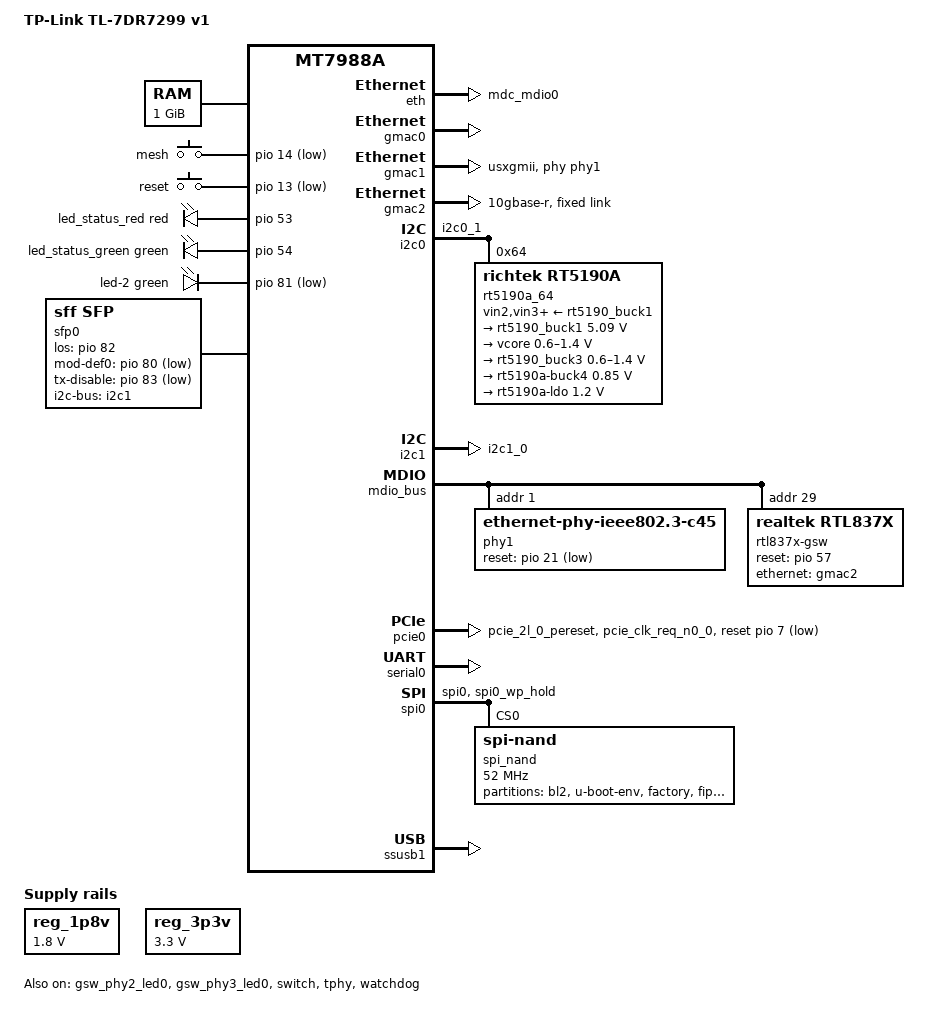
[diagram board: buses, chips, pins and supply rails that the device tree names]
// SPDX-License-Identifier: GPL-2.0-or-later OR MIT
/*
 * Copyright (C) 2026 Tianling Shen <cnsztl@immortalwrt.org>
 */

/dts-v1/;
#include <dt-bindings/input/input.h>
#include <dt-bindings/gpio/gpio.h>
#include <dt-bindings/leds/common.h>
#include <dt-bindings/pinctrl/mt65xx.h>
#include <dt-bindings/regulator/richtek,rt5190a-regulator.h>

#include "mt7988a.dtsi"

/ {
	model = "TP-Link TL-7DR7299 v1";
	compatible = "tplink,tl-7dr7299-v1", "mediatek,mt7988a";

	aliases {
		led-boot = &led_status_red;
		led-failsafe = &led_status_red;
		led-running = &led_status_green;
		led-upgrade = &led_status_green;
		label-mac-device = &gmac0;
		serial0 = &serial0;
	};

	chosen {
		rootdisk = <&ubi_rootdisk>;
		stdout-path = "serial0:115200n8";
	};

	memory@40000000 {
		reg = <0 0x40000000 0 0x40000000>;
		device_type = "memory";
	};

	gpio-keys {
		compatible = "gpio-keys";
		pinctrl-names = "default";
		pinctrl-0 = <&button_pins>;

		button-mesh {
			label = "mesh";
			linux,code = <BTN_9>;
			gpios = <&pio 14 GPIO_ACTIVE_LOW>;
		};

		button-reset {
			label = "reset";
			linux,code = <KEY_RESTART>;
			gpios = <&pio 13 GPIO_ACTIVE_LOW>;
		};
	};

	gpio-leds {
		compatible = "gpio-leds";

		led_status_red: led-0 {
			color = <LED_COLOR_ID_RED>;
			function = LED_FUNCTION_STATUS;
			gpios = <&pio 53 GPIO_ACTIVE_HIGH>;
		};

		led_status_green: led-1 {
			color = <LED_COLOR_ID_GREEN>;
			function = LED_FUNCTION_STATUS;
			gpios = <&pio 54 GPIO_ACTIVE_HIGH>;
		};

		led-2 {
			color = <LED_COLOR_ID_GREEN>;
			function = "sfp";
			gpios = <&pio 81 GPIO_ACTIVE_LOW>;
		};
	};

	sfp0: sfp0 {
		compatible = "sff,sfp";
		i2c-bus = <&i2c1>;
		los-gpios = <&pio 82 GPIO_ACTIVE_HIGH>;
		mod-def0-gpios = <&pio 80 GPIO_ACTIVE_LOW>;
		tx-disable-gpios = <&pio 83 GPIO_ACTIVE_LOW>;
		maximum-power-milliwatt = <3000>;
	};

	reg_1p8v: regulator-1p8v {
		compatible = "regulator-fixed";
		regulator-name = "fixed-1.8V";
		regulator-min-microvolt = <1800000>;
		regulator-max-microvolt = <1800000>;
		regulator-boot-on;
		regulator-always-on;
	};

	reg_3p3v: regulator-3p3v {
		compatible = "regulator-fixed";
		regulator-name = "fixed-3.3V";
		regulator-min-microvolt = <3300000>;
		regulator-max-microvolt = <3300000>;
		regulator-boot-on;
		regulator-always-on;
	};
};

&cpu0 {
	proc-supply = <&rt5190_buck3>;
};

&cpu1 {
	proc-supply = <&rt5190_buck3>;
};

&cpu2 {
	proc-supply = <&rt5190_buck3>;
};

&cpu3 {
	proc-supply = <&rt5190_buck3>;
};

&cci {
	proc-supply = <&rt5190_buck3>;
};

&eth {
	pinctrl-names = "default";
	pinctrl-0 = <&mdio0_pins>;
	status = "okay";
};

&gmac0 {
	nvmem-cells = <&macaddr_factory_1e001c 0>;
	nvmem-cell-names = "mac-address";
	status = "okay";
};

&gmac1 {
	nvmem-cells = <&macaddr_factory_1e001c 1>;
	nvmem-cell-names = "mac-address";
	phy-handle = <&phy1>;
	phy-mode = "usxgmii";
	status = "okay";
};

&gmac2 {
	nvmem-cells = <&macaddr_factory_1e001c 0>;
	nvmem-cell-names = "mac-address";
	phy-mode = "10gbase-r";
	status = "okay";

	fixed-link {
		speed = <10000>;
		full-duplex;
		pause;
	};
};

&gsw_phy2 {
	pinctrl-names = "gbe-led";
	pinctrl-0 = <&gbe2_led0_pins>;
};

&gsw_phy2_led0 {
	function = LED_FUNCTION_LAN;
	color = <LED_COLOR_ID_GREEN>;
	status = "okay";
};

&gsw_phy3 {
	pinctrl-names = "gbe-led";
	pinctrl-0 = <&gbe3_led0_pins>;
};

&gsw_phy3_led0 {
	function = LED_FUNCTION_LAN;
	color = <LED_COLOR_ID_GREEN>;
	status = "okay";
};

&gsw_port0 {
	status = "disabled";
};

&gsw_port1 {
	status = "disabled";
};

&gsw_port2 {
	label = "lan1";
};

&gsw_port3 {
	label = "lan2";
};

&i2c0 {
	pinctrl-names = "default";
	pinctrl-0 = <&i2c0_pins>;
	status = "okay";

	rt5190a_64: rt5190a@64 {
		compatible = "richtek,rt5190a";
		reg = <0x64>;
		/*interrupts-extended = <&gpio26 0 IRQ_TYPE_LEVEL_LOW>;*/
		vin2-supply = <&rt5190_buck1>;
		vin3-supply = <&rt5190_buck1>;
		vin4-supply = <&rt5190_buck1>;

		regulators {
			rt5190_buck1: buck1 {
				regulator-name = "rt5190a-buck1";
				regulator-min-microvolt = <5090000>;
				regulator-max-microvolt = <5090000>;
				regulator-allowed-modes = <RT5190A_OPMODE_AUTO RT5190A_OPMODE_FPWM>;
				regulator-boot-on;
				regulator-always-on;
			};

			buck2 {
				regulator-name = "vcore";
				regulator-min-microvolt = <600000>;
				regulator-max-microvolt = <1400000>;
				regulator-boot-on;
				regulator-always-on;
			};

			rt5190_buck3: buck3 {
				regulator-name = "vproc";
				regulator-min-microvolt = <600000>;
				regulator-max-microvolt = <1400000>;
				regulator-boot-on;
			};

			buck4 {
				regulator-name = "rt5190a-buck4";
				regulator-min-microvolt = <850000>;
				regulator-max-microvolt = <850000>;
				regulator-allowed-modes = <RT5190A_OPMODE_AUTO RT5190A_OPMODE_FPWM>;
				regulator-boot-on;
				regulator-always-on;
			};

			ldo {
				regulator-name = "rt5190a-ldo";
				regulator-min-microvolt = <1200000>;
				regulator-max-microvolt = <1200000>;
				regulator-boot-on;
				regulator-always-on;
			};
		};
	};
};

&i2c1 {
	pinctrl-names = "default";
	pinctrl-0 = <&i2c1_pins>;
	status = "okay";
};

&mdio_bus {
	phy1: ethernet-phy@1 {
		compatible = "ethernet-phy-ieee802.3-c45";
		reg = <1>;
		reset-assert-us = <100000>;
		reset-deassert-us = <221000>;
		reset-gpios = <&pio 21 GPIO_ACTIVE_LOW>;

		leds {
			#address-cells = <1>;
			#size-cells = <0>;

			led@3 {
				reg = <3>;
				function = LED_FUNCTION_WAN;
				color = <LED_COLOR_ID_GREEN>;
				active-low;
			};
		};
	};

	rtl837x-gsw@1d {
		compatible = "realtek,rtl837x";
		reg = <29>;
		ethernet = <&gmac2>;
		reset-gpios = <&pio 57 GPIO_ACTIVE_HIGH>;
		rtl837x,cpu-port = <0>;
		rtl837x,sds0mode = "10g-kr";
		sfp = <&sfp0>;

		extra-init =
			/* LED_RLDP_CTRL_3~8_P2_LED3_0_RLDP */
			<0x65FC 0xffffffff 0x33333000>, // RTL8373_LED_RLDP_CTRL_2_ADDR
			<0x6600 0xf        0x3       >, // RTL8373_LED_RLDP_CTRL_3_ADDR
			/* 10m/100m/500m/1g/2p5g/link/act */
			<0x6548 0xffff     0x17D     >, // RTL8373_LED1_0_SET0_CTRL0_ADDR
			/* LED_GLB_MUX_1_CFG_PAD_LED3_MUX */
			<0x65E0 0xfc0000   0x10      >, // RTL8373_LED_GLB_MUX_1_ADDR
			/* LED_GLB_MUX_2_CFG_PAD_LED6_MUX */
			<0x65E4 0xfc0      0x14      >, // RTL8373_LED_GLB_MUX_2_ADDR
			/* LED_GLB_MUX_3_CFG_PAD_LED10_MUX */
			<0x65E8 0x3f       0x18      >, // RTL8373_LED_GLB_MUX_3_ADDR
			/* LED_GLB_MUX_4_CFG_PAD_LED18_MUX */
			<0x65EC 0xfc0000   0x1C      >, // RTL8373_LED_GLB_MUX_4_ADDR
			/* LED_GLB_ACTIVE_CFG_PAD_LED3_ACTIVE_LOW */
			<0x65D8 0x8        0         >, // RTL8373_LED_GLB_ACTIVE_ADDR
			/* LED_GLB_ACTIVE_CFG_PAD_LED6_ACTIVE_LOW */
			<0x65D8 0x6        0         >, // RTL8373_LED_GLB_ACTIVE_ADDR
			/* LED_GLB_ACTIVE_CFG_PAD_LED10_ACTIVE_LOW */
			<0x65D8 0xA        0         >, // RTL8373_LED_GLB_ACTIVE_ADDR
			/* LED_GLB_ACTIVE_CFG_PAD_LED18_ACTIVE_LOW */
			<0x65D8 0x12       0         >, // RTL8373_LED_GLB_ACTIVE_ADDR
			/* LED_GLB_IO_EN_CFG_PARA_LED3/6/10/18/28/29_IO_EN */
			<0x65DC 0x3fffffff 0x30040448>, // RTL8373_LED_GLB_IO_EN_ADDR
			/* IO_MUX_SEL_0_GPIO_LED3/6/10/18 */
			<0x7F8C 0x3fffffff 0x3FFBFBB7>, // RTL8373_IO_MUX_SEL_0_ADDR
			/* LED_GLB_CTRL_STP1_PWR_ON_LED */
			<0x6520 0x1E0      1         >, // RTL8373_LED_GLB_CTRL_ADDR
			/* LED_GLB_CTRL_STP2_PWR_ON_LED */
			<0x6520 0x1E00     0         >, // RTL8373_LED_GLB_CTRL_ADDR
			/* LED_GLB_CTRL_PWR_ON_BLINK_SEL */
			<0x6520 0x18       1         >; // RTL8373_LED_GLB_CTRL_ADDR
	};
};

&pcie0 {
	pinctrl-names = "default";
	pinctrl-0 = <&pcie0_1_pins>;
	reset-gpios = <&pio 7 GPIO_ACTIVE_LOW>;
	status = "okay";

	pcie@0,0 {
		reg = <0x0000 0 0 0 0>;
		#address-cells = <3>;
		#size-cells = <2>;

		mt7992@0,0 {
			reg = <0x0000 0 0 0 0>;
			#address-cells = <1>;
			#size-cells = <0>;
			nvmem-cells = <&eeprom_factory_0>;
			nvmem-cell-names = "eeprom";

			band@0 {
				reg = <0>;
				nvmem-cells = <&macaddr_factory_1e001c 0>;
				nvmem-cell-names = "mac-address";
			};

			band@1 {
				reg = <1>;
				nvmem-cells = <&macaddr_factory_1e001c 2>;
				nvmem-cell-names = "mac-address";
			};
		};
	};
};

&pio {
	button_pins: button-pins {
		pins = "GPIO_WPS", "GPIO_RESET";
		mediatek,pull-down-adv = <0>;
	};

	gbe2_led0_pins: gbe2-led0-pins {
		mux {
			function = "led";
			groups = "gbe2_led0";
		};
	};

	gbe3_led0_pins: gbe3-led0-pins {
		mux {
			function = "led";
			groups = "gbe3_led0";
		};
	};

	i2c0_pins: i2c0-g0-pins {
		mux {
			function = "i2c";
			groups = "i2c0_1";
		};
	};

	i2c1_pins: i2c1-g0-pins {
		mux {
			function = "i2c";
			groups = "i2c1_0";
		};
	};

	mdio0_pins: mdio0-pins {
		mux {
			function = "eth";
			groups = "mdc_mdio0";
		};

		conf {
			groups = "mdc_mdio0";
			drive-strength = <MTK_DRIVE_8mA>;
		};
	};

	pcie0_1_pins: pcie0-pins-g1 {
		mux {
			function = "pcie";
			groups = "pcie_2l_0_pereset", "pcie_clk_req_n0_0";
		};
	};

	spi0_flash_pins: spi0-flash-pins {
		mux {
			function = "spi";
			groups = "spi0", "spi0_wp_hold";
		};
	};
};

&serial0 {
	pinctrl-names = "default";
	pinctrl-0 = <&uart0_pins>;
	status = "okay";
};

&spi0 {
	pinctrl-names = "default";
	pinctrl-0 = <&spi0_flash_pins>;
	status = "okay";

	spi_nand: flash@0 {
		compatible = "spi-nand";
		reg = <0>;

		spi-max-frequency = <52000000>;
		spi-tx-bus-width = <4>;
		spi-rx-bus-width = <4>;

		partitions {
			compatible = "fixed-partitions";
			#address-cells = <1>;
			#size-cells = <1>;

			partition@0 {
				label = "bl2";
				reg = <0x0 0x100000>;
				read-only;
			};

			partition@100000 {
				label = "u-boot-env";
				reg = <0x100000 0x80000>;
				read-only;
			};

			partition@180000 {
				label = "factory";
				reg = <0x180000 0x400000>;
				read-only;

				nvmem-layout {
					compatible = "fixed-layout";
					#address-cells = <1>;
					#size-cells = <1>;

					eeprom_factory_0: eeprom@0 {
						reg = <0x0 0x1e00>;
					};

					macaddr_factory_1e001c: eeprom@1e001c {
						compatible = "mac-base";
						reg = <0x1e001c 0x6>;
						#nvmem-cell-cells = <1>;
					};
				};
			};

			partition@580000 {
				label = "fip";
				reg = <0x580000 0x100000>;
				read-only;
			};

			partition@880000 {
				compatible = "linux,ubi";
				reg = <0x880000 0x7780000>;
				label = "ubi";

				volumes {
					ubi_rootdisk: ubi-volume-fit {
						volname = "fit";
					};
				};
			};
		};
	};
};

&ssusb1 {
	status = "okay";
};

&switch {
	status = "okay";
};

&tphy {
	status = "okay";
};

&watchdog {
	status = "okay";
};
